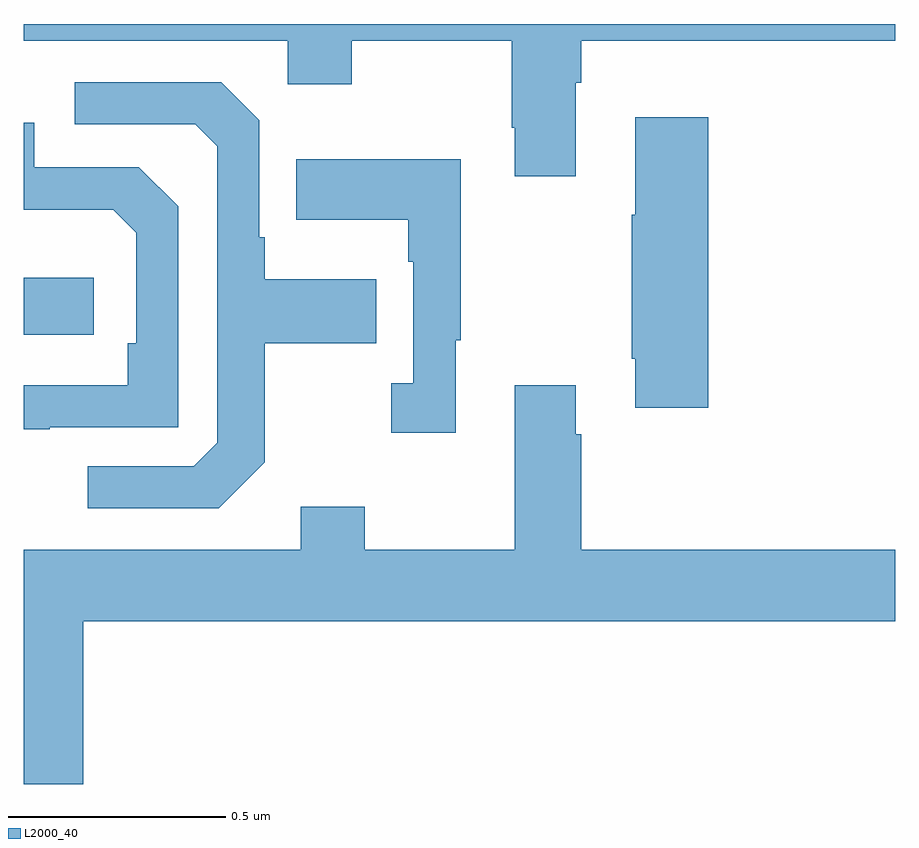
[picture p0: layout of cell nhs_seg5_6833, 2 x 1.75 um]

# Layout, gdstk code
import gdstk
lib = gdstk.Library(unit=1e-6, precision=1e-09)
def R(c, l, rs):  # rectangles x0, y0, x1, y1
    for r in rs: c.add(gdstk.rectangle(r[:2], r[2:], *l))
def P(c, l, *ps):  # polygons
    for p in ps: c.add(gdstk.Polygon(p, *l))
L2000_40 = (2000, 40)

nhs_seg5_6833 = lib.new_cell('nhs_seg5_6833')
R(nhs_seg5_6833, L2000_40, [(201,856.086,201.16,856.216)])
P(nhs_seg5_6833, L2000_40, [(202.267,856.664),(202.28,856.664),(202.28,856.76),(203,856.76),(203,856.799),(201,856.799),(201,856.76),(201.606,856.76),(201.606,856.661),(201.753,856.661),(201.753,856.76),(202.12,856.76),(202.12,856.561),(202.127,856.561),(202.127,856.449),(202.267,856.449)],
  [(201.553,855.793),(201.553,856.066),(201.809,856.066),(201.809,856.213),(201.553,856.213),(201.553,856.309),(201.54,856.309),(201.54,856.578),(201.453,856.665),(201.117,856.665),(201.117,856.569),(201.393,856.569),(201.444,856.518),(201.444,855.837),(201.39,855.783),(201.147,855.783),(201.147,855.687),(201.447,855.687)],
  [(202.571,856.585),(202.403,856.585),(202.403,856.361),(202.396,856.361),(202.396,856.03),(202.403,856.03),(202.403,855.918),(202.571,855.918)],
  [(201.059,855.873),(201.354,855.873),(201.354,856.38),(201.264,856.47),(201.024,856.47),(201.024,856.572),(201,856.572),(201,856.373),(201.205,856.373),(201.258,856.32),(201.258,856.066),(201.238,856.066),(201.238,855.969),(201,855.969),(201,855.868),(201.059,855.868)],
  [(201.991,856.073),(202.003,856.073),(202.003,856.489),(201.625,856.489),(201.625,856.349),(201.882,856.349),(201.882,856.253),(201.894,856.253),(201.894,855.974),(201.843,855.974),(201.843,855.861),(201.991,855.861)],
  [(201.136,855.428),(203,855.428),(203,855.592),(202.28,855.592),(202.28,855.857),(202.267,855.857),(202.267,855.97),(202.127,855.97),(202.127,855.592),(201.783,855.592),(201.783,855.691),(201.635,855.691),(201.635,855.592),(201,855.592),(201,855.054),(201.136,855.054)])

lib.write_gds('nhs_seg5_6833.gds')
